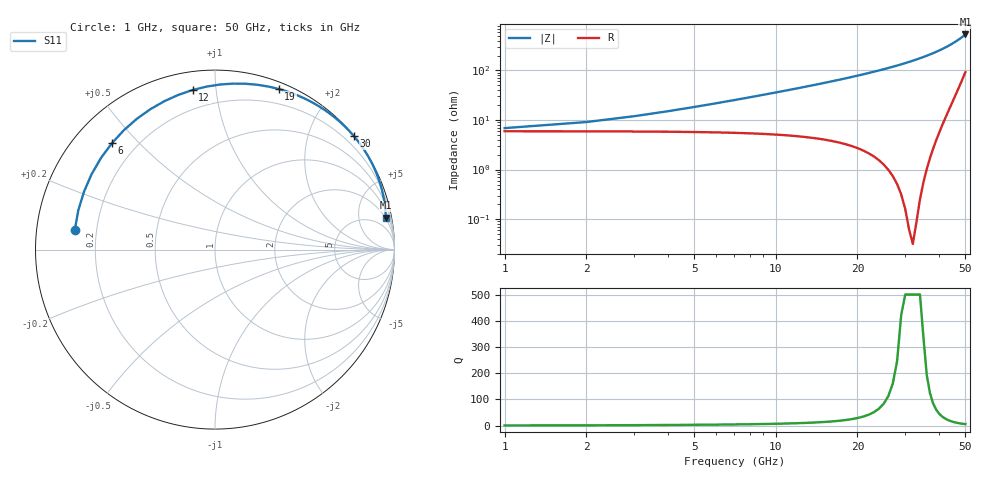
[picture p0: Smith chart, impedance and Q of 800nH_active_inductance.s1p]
! Created Thu Mar 12 11:05:58 2026
# hz S ma R 50
! Port[1] TermG1
! 1 Port Network Data from SP1.SP block
! freq  magS11  angS11
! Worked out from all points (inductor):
!   50 points, 1 GHz to 50 GHz, reference 50 ohm
!   read as one part to ground: L = 557 pH near 5 GHz
!   highest |Z| = 531 ohm at 50 GHz (marker M1)
!   S11 on the Smith chart (normalised r, x): 1 GHz: 0.12, +0.07; 6 GHz: 0.11, +0.42; 12 GHz: 0.09, +0.87; 19 GHz: 0.06, +1.47; 30 GHz: 0.00, +2.81; 50 GHz: 2, +10
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1e9  0.7888 172.0
2e9  0.7923 164.0
3e9  0.798 156.2
4e9  0.8057 148.6
5e9  0.8149 141.2
6e9  0.8254 134.1
7e9  0.8369 127.3
8e9  0.849 120.8
9e9  0.8614 114.6
1e10  0.8739 108.8
1.1e10  0.8861 103.2
1.2e10  0.898 97.9
1.3e10  0.9093 93.0
1.4e10  0.9201 88.3
1.6e10  0.9394 79.7
1.7e10  0.948 75.7
1.9e10  0.9628 68.4
2e10  0.9691 65.0
2.3e10  0.984 55.9
2.6e10  0.9934 48.1
2.8e10  0.9972 43.5
3e10  0.9993 39.2
3.2e10  0.9999 35.3
3.5e10  0.9985 30.0
3.8e10  0.995 25.3
4.1e10  0.9898 21.1
4.4e10  0.9834 17.2
5e10  0.968 10.6
